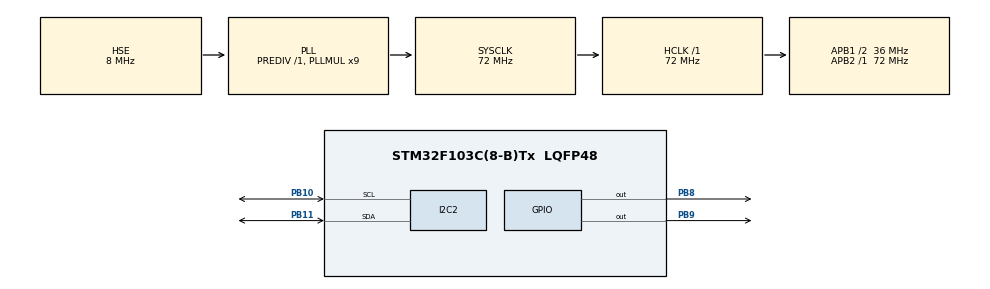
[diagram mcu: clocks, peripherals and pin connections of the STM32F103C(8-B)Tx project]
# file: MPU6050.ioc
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Mcu.Family=STM32F1
Mcu.Name=STM32F103C(8-B)Tx
Mcu.Package=LQFP48
NVIC.PriorityGroup=NVIC_PRIORITYGROUP_4
PA13.Mode=Serial_Wire
PA13.Signal=SYS_JTMS-SWDIO
PA14.Mode=Serial_Wire
PA14.Signal=SYS_JTCK-SWCLK
PB10.Mode=I2C
PB10.Signal=I2C2_SCL
PB11.Mode=I2C
PB11.Signal=I2C2_SDA
PB8.GPIO_ModeDefaultOutputPP=GPIO_MODE_OUTPUT_OD
PB8.GPIO_PuPd=GPIO_NOPULL
PB8.Signal=GPIO_Output
PB9.GPIO_ModeDefaultOutputPP=GPIO_MODE_OUTPUT_OD
PB9.GPIO_PuPd=GPIO_NOPULL
PB9.Signal=GPIO_Output
PD0-OSC_IN.Mode=HSE-External-Oscillator
PD0-OSC_IN.Signal=RCC_OSC_IN
PD1-OSC_OUT.Mode=HSE-External-Oscillator
PD1-OSC_OUT.Signal=RCC_OSC_OUT
ProjectManager.HeapSize=0x200
ProjectManager.StackSize=0x400
ProjectManager.TargetToolchain=MDK-ARM V5.32
RCC.AHBFreq_Value=72000000
RCC.APB1CLKDivider=RCC_HCLK_DIV2
RCC.APB1Freq_Value=36000000
RCC.APB1TimFreq_Value=72000000
RCC.APB2Freq_Value=72000000
RCC.APB2TimFreq_Value=72000000
RCC.HCLKFreq_Value=72000000
RCC.PLLMUL=RCC_PLL_MUL9
RCC.PLLSourceVirtual=RCC_PLLSOURCE_HSE
RCC.SYSCLKFreq_VALUE=72000000
RCC.SYSCLKSource=RCC_SYSCLKSOURCE_PLLCLK
RCC.USBFreq_Value=72000000
board=custom

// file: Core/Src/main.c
/* USER CODE BEGIN Header */
/**
  ******************************************************************************
  * @file           : main.c
  * @brief          : Main program body
  ******************************************************************************
  * @attention
  *
  * Copyright (c) 2024 STMicroelectronics.
  * All rights reserved.
  *
  * This software is licensed under terms that can be found in the LICENSE file
  * in the root directory of this software component.
  * If no LICENSE file comes with this software, it is provided AS-IS.
  *
  ******************************************************************************
  */
/* USER CODE END Header */
#include "main.h"
#include "i2c.h"
#include "gpio.h"

/* USER CODE BEGIN Includes */
#include "OLED.h"
#include "OLED_Data.h"
#include "MPU6050.h"
/* USER CODE END Includes */

void SystemClock_Config(void);

int main(void)
{

  /* MCU Configuration--------------------------------------------------------*/

  /* Reset of all peripherals, Initializes the Flash interface and the Systick. */
  HAL_Init();

  /* Configure the system clock */
  SystemClock_Config();

  /* Initialize all configured peripherals */
  MX_GPIO_Init();
  MX_I2C2_Init();
  /* USER CODE BEGIN 2 */
	OLED_Init();
	MPU6050_Init(0xD0);
	uint8_t ID;
	Sensor_I2C2_Read(0xD0, 0x75, &ID, 1);
	/* USER CODE END 2 */

  /* Infinite loop */
  /* USER CODE BEGIN WHILE */

  while (1)
  {
		MPU6050_Read_Accel();
		MPU6050_Read_Gyro();
		OLED_Printf(0, 0, 8, "ID:%d", ID);
		OLED_Printf(0, 16, 8, "AX:%4.1f GX:%4.1f", MPU6050_Data.Accel_X, MPU6050_Data.Gyro_X);
		OLED_Printf(0, 32, 8, "AY:%4.1f GY:%4.1f", MPU6050_Data.Accel_Y, MPU6050_Data.Gyro_Y);
		OLED_Printf(0, 48, 8, "AZ:%4.1f GZ:%4.1f", MPU6050_Data.Accel_Z, MPU6050_Data.Gyro_Z);
		OLED_Update();
		HAL_Delay(100);
    /* USER CODE END WHILE */

  }
}

void SystemClock_Config(void)
{
  RCC_OscInitTypeDef RCC_OscInitStruct = {0};
  RCC_ClkInitTypeDef RCC_ClkInitStruct = {0};

  /** Initializes the RCC Oscillators according to the specified parameters
  * in the RCC_OscInitTypeDef structure.
  */
  RCC_OscInitStruct.OscillatorType = RCC_OSCILLATORTYPE_HSE;
  RCC_OscInitStruct.HSEState = RCC_HSE_ON;
  RCC_OscInitStruct.HSEPredivValue = RCC_HSE_PREDIV_DIV1;
  RCC_OscInitStruct.HSIState = RCC_HSI_ON;
  RCC_OscInitStruct.PLL.PLLState = RCC_PLL_ON;
  RCC_OscInitStruct.PLL.PLLSource = RCC_PLLSOURCE_HSE;
  RCC_OscInitStruct.PLL.PLLMUL = RCC_PLL_MUL9;
  if (HAL_RCC_OscConfig(&RCC_OscInitStruct) != HAL_OK)
  {
    Error_Handler();
  }

  /** Initializes the CPU, AHB and APB buses clocks
  */
  RCC_ClkInitStruct.ClockType = RCC_CLOCKTYPE_HCLK|RCC_CLOCKTYPE_SYSCLK
                              |RCC_CLOCKTYPE_PCLK1|RCC_CLOCKTYPE_PCLK2;
  RCC_ClkInitStruct.SYSCLKSource = RCC_SYSCLKSOURCE_PLLCLK;
  RCC_ClkInitStruct.AHBCLKDivider = RCC_SYSCLK_DIV1;
  RCC_ClkInitStruct.APB1CLKDivider = RCC_HCLK_DIV2;
  RCC_ClkInitStruct.APB2CLKDivider = RCC_HCLK_DIV1;

  if (HAL_RCC_ClockConfig(&RCC_ClkInitStruct, FLASH_LATENCY_2) != HAL_OK)
  {
    Error_Handler();
  }
}

void Error_Handler(void)
{
  __disable_irq();
  while (1)
  {
  }
}
